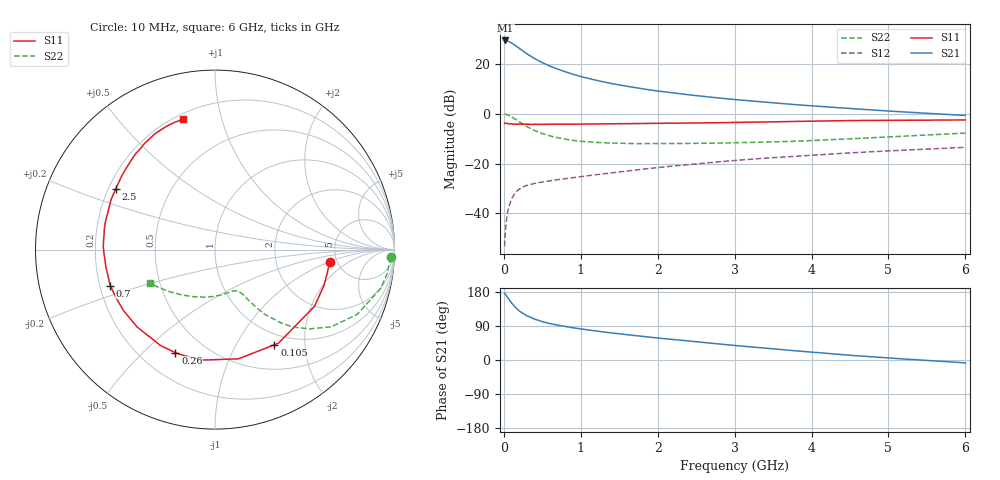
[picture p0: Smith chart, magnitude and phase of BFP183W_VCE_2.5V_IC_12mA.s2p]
! Infineon Technologies  Discrete & RF Semiconductors
! BFP183W
! VCE = 2.5 V,  IC =  12 mA
! Common Emitter S-Parameters:  Jan 2016
# GHz  S  MA  R  50
!  f  S11  S21  S12  S22
! GHz  MAG  ANG  MAG  ANG  MAG  ANG  MAG  ANG
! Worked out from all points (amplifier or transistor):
!   210 points, 10 MHz to 6 GHz, reference 50 ohm
!   highest |S21| = 29.4 dB at 20 MHz (marker M1)
!   |S21| within 3 dB of that: start of sweep to 192.9 MHz
!   unconditionally stable (mu >= 1): 1.208 GHz to 5.137 GHz
!   at 185 MHz: K = 0.25, MSG = 28.6 dB, |S12| = -30.7 dB
!   at 1.52 GHz: K = 1.09, MAG = 15.5 dB, |S12| = -23.3 dB
!   at 6 GHz: K = 0.96, MSG = 6.4 dB, |S12| = -13.5 dB
!   S11 on the Smith chart (normalised r, x): 10 MHz: 4.36, -1.00; 105 MHz: 0.84, -1.46; 260 MHz: 0.34, -0.63; 700 MHz: 0.24, -0.16; 2.5 GHz: 0.23, +0.27; 6 GHz: 0.23, +0.76
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0.01  0.6427 -6.0  29.33 176.0  0.0022 90.8  0.9792 -2.5
0.02  0.6387 -12.0  29.35 173.6  0.0045 82.6  0.9731 -5.3
0.03  0.639 -18.2  29.24 170.6  0.0064 84.5  0.9681 -8.0
0.05  0.6382 -29.7  28.59 164.2  0.0109 76.5  0.9482 -13.2
0.1  0.63 -55.9  26.19 150.4  0.0195 66.3  0.8704 -24.5
0.105  0.6251 -58.0  25.86 149.3  0.0202 65.2  0.8602 -25.3
0.15  0.6224 -77.9  23.3 138.6  0.0263 58.1  0.7775 -33.6
0.2  0.6185 -95.7  20.4 129.4  0.0306 51.7  0.6886 -39.9
0.26  0.6154 -111.0  17.52 121.3  0.0346 46.6  0.6004 -45.4
0.3  0.6146 -119.6  15.81 116.5  0.0365 44.2  0.5496 -48.0
0.4  0.6116 -135.2  12.71 107.7  0.0399 41.3  0.4583 -52.3
0.5  0.6127 -146.3  10.54 101.1  0.0427 40.2  0.3977 -54.5
0.6  0.6132 -154.1  8.954 96.0  0.045 39.6  0.3568 -55.8
0.7  0.6171 -161.0  7.813 91.9  0.0474 40.1  0.328 -56.8
1.02  0.6158 -175.4  5.45 81.5  0.0549 43.3  0.2782 -59.4
1.4  0.6228 172.9  4.019 71.4  0.0651 46.3  0.2571 -63.3
2.02  0.6352 158.0  2.821 57.7  0.0834 48.8  0.2502 -72.5
2.5  0.6482 148.6  2.297 48.0  0.0984 48.8  0.2535 -81.2
3.1  0.67 137.8  1.86 36.7  0.1182 47.3  0.2623 -93.7
4.1  0.7119 122.5  1.403 19.2  0.1503 43.1  0.2924 -117.0
5.1  0.7379 111.4  1.104 4.0  0.1822 37.6  0.3483 -138.3
6  0.7479 103.9  0.922 -7.6  0.2111 32.6  0.4066 -152.5
